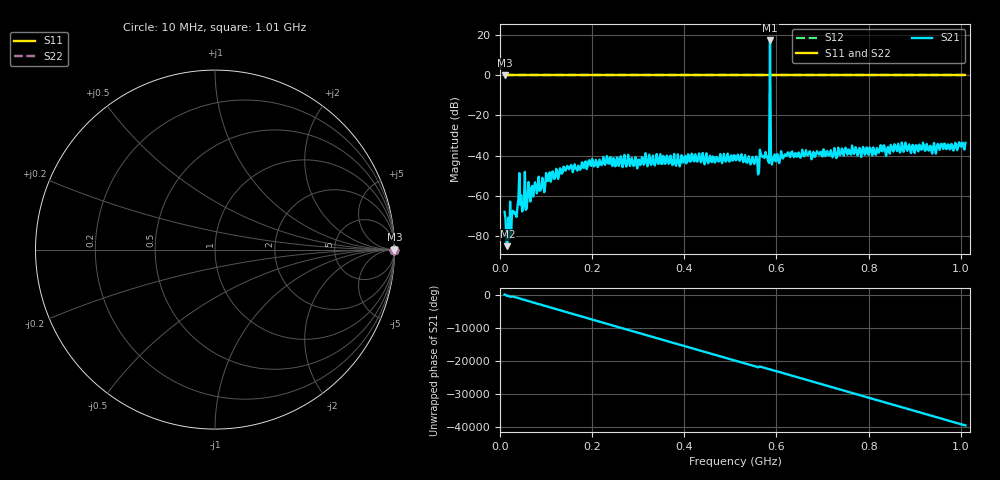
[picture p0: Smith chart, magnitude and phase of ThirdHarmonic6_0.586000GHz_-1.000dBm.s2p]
! 8/15/2025 6:59:29 PM
! C:\ANRITSUVNA\TEMP\TEMP.S2P
! CHANNEL.1
! TR.MEASUREMENT
! RAW.DATA
! RF.CORRECTION.OFF
! AVERAGING.OFF
! IF.BANDWIDTH: 5KHZ
! SWEEPTYPE:  FREQ.SWEEP(Linear)
! Reference Plane Port Info
! PORT:  PORT1  PORT2
! DISTANCE:  0  m  0  m
! TIME:  0  s  0  s
! PHASE.OFFSET:  0  deg.  0  deg.
! LOSS:  0  dB  0  dB
! REF.LOSS:  0  dB  0  dB
! REF.FREQ:  0  Hz  0  Hz
! Power Info
! POWER:  -20  dBm  -20  dBm
! EFF.POWER:  -20  dBm  -20  dBm
! SOURCE.ATTEN:  0  dB  0  dB
! TEST.ATTEN:  0  dB  0  dB
# GHZ S RI R 50.0
! FREQ.GHZ  S11RE  S11IM  S21RE  S21IM  S12RE  S12IM  S22RE  S22IM
!; PortSelection: Port_12
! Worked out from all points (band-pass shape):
!   501 points, 10 MHz to 1.01 GHz, reference 50 ohm
!   highest |S21| = 17.35 dB at 586 MHz (marker M1); lowest = -85.1 dB at 16 MHz (marker M2)
!   |S21| within 3 dB of the highest: 585.9016 MHz to 586.1054 MHz (203.8 kHz wide, 0.0348 % of centre)
!   lowest |S11| = 0.0 dB at 10 MHz (marker M3)
!   |S11| at or under -10 dB: nowhere
!   |S22| runs from 0.0 to 0.0 dB; largest |S21 - S12| = 6.6
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0.01  1 0  0.00027 0.000293  1 0  1 0
0.016  1 0  4.9e-05 -2.66e-05  1 0  1 0
0.026  1 0  -0.000355 3.11e-05  1 0  1 0
0.034  1 0  -4.13e-05 -0.000385  1 0  1 0
0.042  1 0  0.00243 -0.00274  1 0  1 0
0.048  1 0  0.00027 0.000305  1 0  1 0
0.058  1 0  0.000464 0.000135  1 0  1 0
0.092  1 0  0.000934 0.00265  1 0  1 0
0.104  1 0  0.00127 -0.00199  1 0  1 0
0.178  1 0  -0.00648 -0.00212  1 0  1 0
0.344  1 0  0.0062 8.74e-05  1 0  1 0
0.51  1 0  -0.0097 0.00173  1 0  1 0
0.558  1 0  0.00529 0.00635  1 0  1 0
0.568  1 0  0.00972 0.00162  1 0  1 0
0.58  1 0  -0.00407 -0.00856  1 0  1 0
0.582  1 0  -0.00731 0.000455  1 0  1 0
0.586  1 0  6.161 4.051  1 0  1 0
0.59  1 0  -0.00489 -0.00351  1 0  1 0
0.592  1 0  -0.00619 0.00444  1 0  1 0
0.678  1 0  0.0048 -0.00771  1 0  1 0
0.844  1 0  -0.00219 0.0125  1 0  1 0
1.01  1 0  0.00799 -0.0192  1 0  1 0
